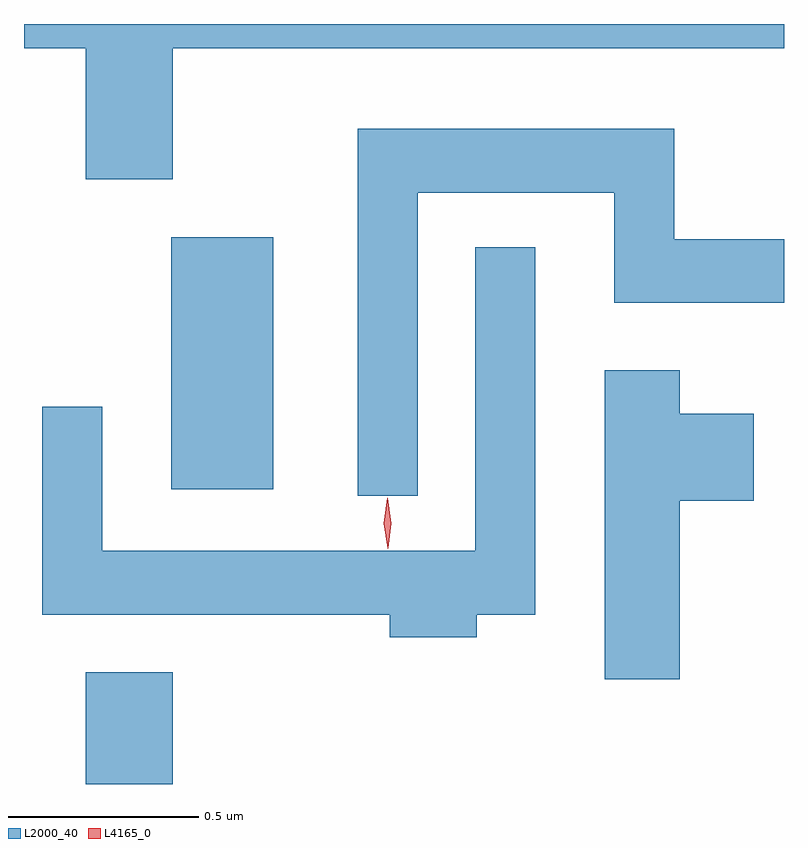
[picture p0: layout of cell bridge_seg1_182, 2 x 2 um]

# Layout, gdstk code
import gdstk
lib = gdstk.Library(unit=1e-6, precision=1e-09)
def R(c, l, rs):  # rectangles x0, y0, x1, y1
    for r in rs: c.add(gdstk.rectangle(r[:2], r[2:], *l))
def P(c, l, *ps):  # polygons
    for p in ps: c.add(gdstk.Polygon(p, *l))
L2000_40 = (2000, 40)
L4165_0 = (4165, 0)

bridge_seg1_182 = lib.new_cell('bridge_seg1_182')
R(bridge_seg1_182, L2000_40, [(787.431,935.38,787.659,935.674), (787.656,936.156,787.924,936.819)])
P(bridge_seg1_182, L2000_40, [(787.659,937.316),(789.268,937.316),(789.268,937.38),(787.268,937.38),(787.268,937.316),(787.431,937.316),(787.431,936.971),(787.659,936.971)],
  [(788.304,936.936),(788.821,936.936),(788.821,936.646),(789.268,936.646),(789.268,936.814),(788.979,936.814),(788.979,937.104),(788.146,937.104),(788.146,936.138),(788.304,936.138)],
  [(788.459,935.826),(788.614,935.826),(788.614,936.793),(788.456,936.793),(788.456,935.994),(787.474,935.994),(787.474,936.373),(787.316,936.373),(787.316,935.826),(788.231,935.826),(788.231,935.766),(788.459,935.766)],
  [(788.994,936.126),(789.189,936.126),(789.189,936.354),(788.994,936.354),(788.994,936.469),(788.796,936.469),(788.796,935.656),(788.994,935.656)])
P(bridge_seg1_182, L4165_0, [(788.225,935.999),(788.225,936),(788.215,936.066),(788.224,936.132),(788.225,936.133),(788.225,936.132),(788.235,936.066),(788.226,936)])

lib.write_gds('bridge_seg1_182.gds')
